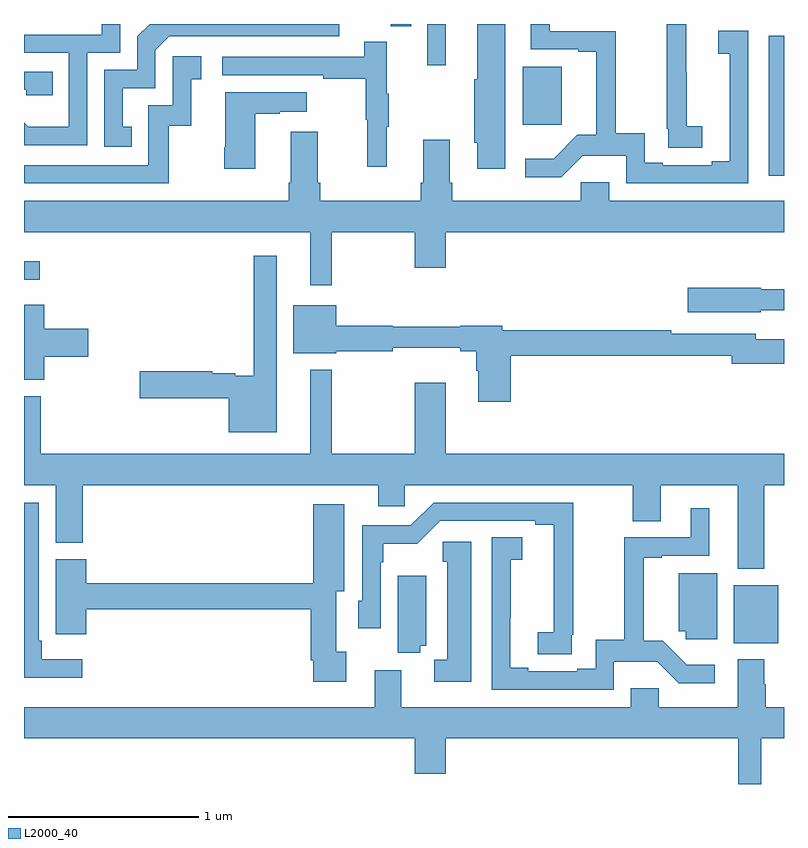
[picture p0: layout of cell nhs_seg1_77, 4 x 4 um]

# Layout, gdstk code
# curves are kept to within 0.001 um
import gdstk
lib = gdstk.Library(unit=1e-6, precision=1e-09)
def R(c, l, rs):  # rectangles x0, y0, x1, y1
    for r in rs: c.add(gdstk.rectangle(r[:2], r[2:], *l))
def P(c, l, *ps):  # polygons
    for p in ps: c.add(gdstk.Polygon(p, *l))
L2000_40 = (2000, 40)

nhs_seg1_77 = lib.new_cell('nhs_seg1_77')
R(nhs_seg1_77, L2000_40, [(118.736,510.941,118.969,511.246), (115,512.852,115.084,512.95), (118.919,513.401,119,514.138), (117.626,513.668,117.829,513.973), (117.123,513.981,117.22,514.199), (116.93,514.186,117.038,514.199)])
P(nhs_seg1_77, L2000_40, [(118.57,513.662),(118.488,513.662),(118.488,513.945),(118.486,513.945),(118.486,514.199),(118.384,514.199),(118.384,513.649),(118.39,513.649),(118.39,513.547),(118.57,513.547)],
  [(118.812,514.163),(118.653,514.163),(118.653,514.043),(118.714,514.043),(118.715,513.476),(118.619,513.476),(118.619,513.456),(118.363,513.456),(118.363,513.47),(118.266,513.47),(118.266,513.623),(118.115,513.623),(118.115,514.161),(117.766,514.161),(117.766,514.199),(117.668,514.199),(117.668,514.065),(117.917,514.065),(117.917,514.053),(118.013,514.053),(118.013,513.616),(117.913,513.616),(117.787,513.49),(117.639,513.49),(117.639,513.393),(117.828,513.393),(117.941,513.506),(118.17,513.506),(118.17,513.36),(118.812,513.36)],
  [(115.568,513.657),(115.519,513.657),(115.519,513.861),(115.692,513.861),(115.692,514.062),(115.764,514.134),(116.658,514.134),(116.658,514.199),(115.661,514.199),(115.596,514.134),(115.596,513.957),(115.422,513.957),(115.422,513.552),(115.568,513.552)],
  [(117.532,514.199),(117.386,514.199),(117.386,513.909),(117.371,513.909),(117.371,513.573),(117.386,513.573),(117.386,513.438),(117.532,513.438)],
  [(115.332,514.047),(115.506,514.047),(115.506,514.199),(115.409,514.199),(115.409,514.143),(115,514.143),(115,514.047),(115.236,514.047),(115.236,513.658),(115.022,513.658),(115,513.68),(115,513.561),(115.332,513.561)],
  [(116.909,513.659),(116.92,513.659),(116.92,513.833),(116.909,513.833),(116.909,514.105),(116.791,514.105),(116.791,514.026),(116.043,514.026),(116.043,513.93),(116.575,513.93),(116.575,513.91),(116.799,513.91),(116.799,513.696),(116.806,513.696),(116.806,513.447),(116.909,513.447)],
  [(115.762,513.663),(115.88,513.663),(115.88,513.909),(115.933,513.909),(115.933,514.03),(115.782,514.03),(115.782,513.771),(115.653,513.771),(115.653,513.456),(115,513.456),(115,513.36),(115.762,513.36)],
  [(115.151,513.948),(115,513.948),(115,513.852),(115.011,513.852),(115.011,513.825),(115.151,513.825)],
  [(116.218,513.727),(116.345,513.727),(116.345,513.737),(116.488,513.737),(116.488,513.841),(116.06,513.841),(116.06,513.55),(116.053,513.55),(116.053,513.438),(116.218,513.438)],
  [(116.621,513.104),(117.056,513.104),(117.056,512.916),(117.22,512.916),(117.22,513.104),(119,513.104),(119,513.268),(118.081,513.268),(118.081,513.366),(117.93,513.366),(117.93,513.268),(117.254,513.268),(117.254,513.364),(117.241,513.364),(117.241,513.589),(117.101,513.589),(117.101,513.364),(117.089,513.364),(117.089,513.268),(116.558,513.268),(116.558,513.364),(116.545,513.364),(116.545,513.631),(116.405,513.631),(116.405,513.364),(116.393,513.364),(116.393,513.268),(115,513.268),(115,513.104),(116.507,513.104),(116.507,512.823),(116.621,512.823)],
  [(116.329,512.98),(116.208,512.98),(116.208,512.347),(116.111,512.347),(116.111,512.36),(115.992,512.36),(115.992,512.371),(115.608,512.371),(115.608,512.23),(116.078,512.23),(116.078,512.051),(116.329,512.051)],
  [(118.878,512.693),(119,512.693),(119,512.803),(118.878,512.803),(118.878,512.811),(118.494,512.811),(118.494,512.681),(118.878,512.681)],
  [(115.106,512.447),(115.339,512.447),(115.339,512.594),(115.106,512.594),(115.106,512.722),(115,512.722),(115,512.326),(115.106,512.326)],
  [(117.563,512.452),(118.724,512.452),(118.724,512.41),(119,512.41),(119,512.539),(118.852,512.539),(118.852,512.568),(118.406,512.568),(118.406,512.588),(117.516,512.588),(117.516,512.612),(117.296,512.612),(117.296,512.605),(116.94,512.605),(116.94,512.612),(116.644,512.612),(116.644,512.719),(116.417,512.719),(116.417,512.465),(116.644,512.465),(116.644,512.476),(116.94,512.476),(116.94,512.495),(117.296,512.495),(117.296,512.476),(117.38,512.476),(117.38,512.375),(117.392,512.375),(117.392,512.211),(117.563,512.211)],
  [(118.897,511.772),(119,511.772),(119,511.936),(117.22,511.936),(117.22,512.311),(117.056,512.311),(117.056,511.936),(116.621,511.936),(116.621,512.38),(116.507,512.38),(116.507,511.936),(115.088,511.936),(115.088,512.241),(115,512.241),(115,511.772),(115.166,511.772),(115.166,511.468),(115.31,511.468),(115.31,511.772),(116.864,511.772),(116.864,511.662),(117.003,511.662),(117.003,511.772),(118.204,511.772),(118.204,511.582),(118.351,511.582),(118.351,511.772),(118.757,511.772),(118.757,511.331),(118.897,511.331)],
  [(117.884,510.985),(117.89,510.985),(117.89,511.68),(117.156,511.68),(117.036,511.56),(116.781,511.56),(116.781,511.164),(116.76,511.164),(116.76,511.02),(116.877,511.02),(116.877,511.367),(116.89,511.367),(116.89,511.463),(117.071,511.463),(117.192,511.584),(117.692,511.584),(117.692,511.564),(117.788,511.564),(117.787,510.998),(117.705,510.998),(117.705,510.883),(117.884,510.883)],
  [(115.306,510.856),(115.093,510.856),(115.093,510.952),(115.077,510.952),(115.077,511.678),(115,511.678),(115,510.758),(115.306,510.758)],
  [(116.695,510.894),(116.644,510.894),(116.644,511.214),(116.686,511.214),(116.686,511.672),(116.522,511.672),(116.522,511.256),(115.328,511.256),(115.328,511.383),(115.166,511.383),(115.166,511.099),(115.167,511.099),(115.167,510.987),(115.328,510.987),(115.328,511.12),(116.51,511.12),(116.51,510.85),(116.522,510.85),(116.522,510.738),(116.695,510.738)],
  [(118.104,510.842),(118.333,510.842),(118.446,510.729),(118.636,510.729),(118.636,510.826),(118.487,510.826),(118.361,510.952),(118.262,510.952),(118.262,511.389),(118.357,511.389),(118.357,511.401),(118.606,511.401),(118.606,511.651),(118.508,511.651),(118.508,511.497),(118.159,511.497),(118.159,510.959),(118.008,510.959),(118.008,510.806),(117.911,510.806),(117.911,510.792),(117.655,510.792),(117.655,510.812),(117.559,510.812),(117.559,511.075),(117.561,511.075),(117.561,511.379),(117.622,511.379),(117.622,511.499),(117.462,511.499),(117.462,510.696),(118.104,510.696)],
  [(117.355,511.474),(117.205,511.474),(117.205,511.368),(117.227,511.368),(117.227,510.852),(117.159,510.852),(117.159,510.737),(117.355,510.737)],
  [(118.648,511.309),(118.445,511.309),(118.445,511.004),(118.482,511.004),(118.482,510.962),(118.648,510.962)],
  [(117.086,510.926),(117.118,510.926),(117.118,511.294),(116.966,511.294),(116.966,510.889),(117.086,510.889)],
  [(118.879,510.44),(119,510.44),(119,510.604),(118.905,510.604),(118.905,510.725),(118.897,510.725),(118.897,510.856),(118.757,510.856),(118.757,510.604),(118.34,510.604),(118.34,510.702),(118.193,510.702),(118.193,510.604),(116.986,510.604),(116.986,510.799),(116.846,510.799),(116.846,510.604),(115,510.604),(115,510.44),(117.056,510.44),(117.056,510.252),(117.22,510.252),(117.22,510.44),(118.758,510.44),(118.758,510.199),(118.879,510.199)])

lib.write_gds('nhs_seg1_77.gds')
